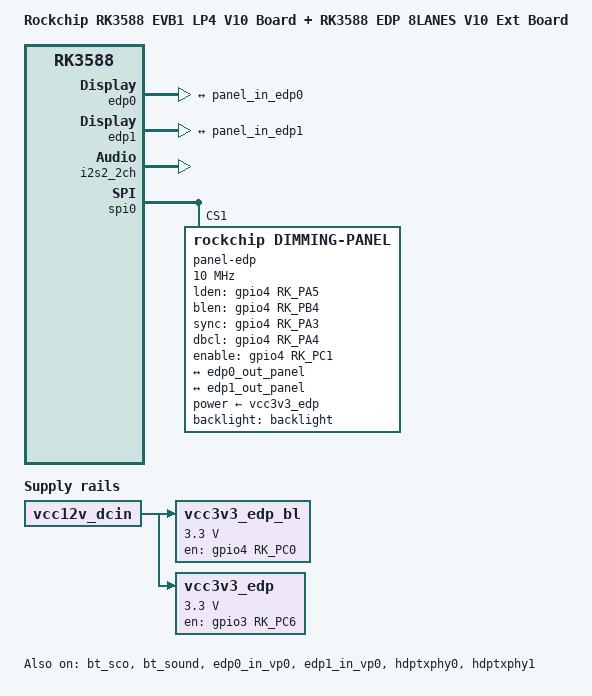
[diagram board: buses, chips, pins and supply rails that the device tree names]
// SPDX-License-Identifier: (GPL-2.0+ OR MIT)
/*
 * Copyright (c) 2024 Rockchip Electronics Co., Ltd.
 *
 */

/dts-v1/;

#include "rk3588-evb1-lp4.dtsi"
#include "rk3588-evb1-imx415.dtsi"
#include "rk3588-android.dtsi"

/ {
	model = "Rockchip RK3588 EVB1 LP4 V10 Board + RK3588 EDP 8LANES V10 Ext Board";
	compatible = "rockchip,rk3588-evb1-lp4-v10-edp-8lanes-TPM270WR1", "rockchip,rk3588";

	vcc3v3_edp_bl: vcc3v3-edp-bl {
		compatible = "regulator-fixed";
		regulator-name = "vcc3v3_edp_bl";
		regulator-boot-on;
		regulator-always-on;
		regulator-min-microvolt = <3300000>;
		regulator-max-microvolt = <3300000>;
		enable-active-high;
		gpio = <&gpio4 RK_PC0 GPIO_ACTIVE_HIGH>;
		vin-supply = <&vcc12v_dcin>;
	};

	vcc3v3_edp: vcc3v3-edp {
		compatible = "regulator-fixed";
		regulator-name = "vcc3v3_edp";
		regulator-boot-on;
		regulator-min-microvolt = <3300000>;
		regulator-max-microvolt = <3300000>;
		enable-active-high;
		gpio = <&gpio3 RK_PC6 GPIO_ACTIVE_HIGH>;
		vin-supply = <&vcc12v_dcin>;
	};
};

&bt_sco {
	status = "okay";
};

&bt_sound {
	status = "okay";
};

&dsi0 {
	status = "disabled";
};

&edp0 {
	force-hpd;
	status = "okay";
	rockchip,dual-channel;
	rockchip,data-swap;

	ports {
		port@1 {
			reg = <1>;

			edp0_out_panel: endpoint {
				remote-endpoint = <&panel_in_edp0>;
			};
		};
	};
};

&edp0_in_vp0 {
	status = "okay";
};

&edp0_in_vp1 {
	status = "disabled";
};

&edp0_in_vp2 {
	status = "disabled";
};

&edp1 {
	force-hpd;
	status = "okay";

	ports {
		port@1 {
			reg = <1>;

			edp1_out_panel: endpoint {
				remote-endpoint = <&panel_in_edp1>;
			};
		};
	};
};

&edp1_in_vp0 {
	status = "okay";
};

&edp1_in_vp1 {
	status = "disabled";
};

&edp1_in_vp2 {
	status = "disabled";
};

&hdmi0 {
	status = "disabled";
};

&hdmi0_in_vp0 {
	status = "disabled";
};

&hdmi0_sound {
	status = "disabled";
};

&hdmi1 {
	status = "disabled";
};

&hdmi1_in_vp1 {
	status = "disabled";
};

&hdmi1_sound {
	status = "disabled";
};

&hdptxphy0 {
	status = "okay";
};

&hdptxphy1 {
	status = "okay";
};

&hdptxphy_hdmi0 {
	status = "disabled";
};

&hdptxphy_hdmi1 {
	status = "disabled";
};

&i2s2_2ch {
	status = "okay";
};

&pcie2x1l0 {
	status = "disabled";
};

&pcie3x4 {
	status = "disabled";
};

&route_dsi0 {
	status = "disabled";
};

&route_edp0 {
	status = "disabled";
	connect = <&vp0_out_edp0>;
};

&route_edp1 {
	status = "disabled";
	connect = <&vp0_out_edp1>;
};

&route_hdmi0 {
	status = "disabled";
};

&route_hdmi1 {
	status = "disabled";
};

&spi0 {
	pinctrl-names = "default";
	pinctrl-0 = <&spi0m1_cs1 &spi0m1_pins>;
	rockchip,poll-only;
	status = "okay";

	panel-edp@1 {
		compatible = "rockchip,dimming-panel";
		reg = <1>;
		spi-max-frequency = <10000000>;
		lden-gpios = <&gpio4 RK_PA5 GPIO_ACTIVE_HIGH>;
		blen-gpios = <&gpio4 RK_PB4 GPIO_ACTIVE_HIGH>;
		sync-gpios = <&gpio4 RK_PA3 GPIO_ACTIVE_HIGH>;
		dbcl-gpios = <&gpio4 RK_PA4 GPIO_ACTIVE_HIGH>;
		backlight = <&backlight>;
		power-supply = <&vcc3v3_edp>;
		enable-gpios = <&gpio4 RK_PC1 GPIO_ACTIVE_HIGH>;
		prepare-delay-ms = <120>;
		enable-delay-ms = <120>;
		unprepare-delay-ms = <120>;
		disable-delay-ms = <120>;
		hzone-num = <48>;
		vzone-num = <24>;
		brightness-max = <255>;
		brightness-min = <0>;
		brightness-bpc = <8>;
		command-header = [
			aa	// indicator
			81	// command
			00	// hdr on/off
			0c	// sdr current
			20	// hdr current
			00	// reserve
		];
		command-tail = [
			00	// checknum
			00	// end
		];
		/*
		 * The demo configs for 16bpc:
		 * brightness-bpc = <16>;
		 * command-header = [
		 *	00 aa	// indicator
		 *	00 81	// command
		 *	00 00	// hdr on/off
		 *	00 0c	// sdr current
		 *	00 20	// hdr current
		 *	00 00	// reserve
		 * ];
		 * command-tail = [
		 *	00 00	// checknum
		 *	00 00	// end
		 * ];
		 */
		status = "okay";

		display-timings {
			native-mode = <&timing_4kp60_dimming>;
			timing_4kp60_dimming: timing2 {
				clock-frequency = <528000000>;
				hactive = <3840>;
				vactive = <2160>;
				hfront-porch = <60>;
				hsync-len = <40>;
				hback-porch = <60>;
				vfront-porch = <15>;
				vsync-len = <10>;
				vback-porch = <15>;
				hsync-active = <0>;
				vsync-active = <0>;
				de-active = <0>;
				pixelclk-active = <0>;
			};

			timing_4kp144_dimming: timing3 {
				clock-frequency = <1267200000>;
				hactive = <3840>;
				vactive = <2160>;
				hfront-porch = <60>;
				hsync-len = <40>;
				hback-porch = <60>;
				vfront-porch = <15>;
				vsync-len = <10>;
				vback-porch = <15>;
				hsync-active = <0>;
				vsync-active = <0>;
				de-active = <0>;
				pixelclk-active = <0>;
			};
		};

		ports {
			#address-cells = <1>;
			#size-cells = <0>;

			port@0 {
				reg = <0>;
				panel_in_edp0: endpoint {
					remote-endpoint = <&edp0_out_panel>;
				};
			};

			port@1 {
				reg = <1>;
				panel_in_edp1: endpoint {
					remote-endpoint = <&edp1_out_panel>;
				};
			};
		};
	};
};

&vop {
	assigned-clocks = <&cru ACLK_VOP>;
	assigned-clock-rates = <800000000>;
};

&vp0 {
	assigned-clocks = <&cru DCLK_VOP0_SRC>;
	assigned-clock-parents = <&cru PLL_V0PLL>;
};

&vp2 {
	/delete-property/ assigned-clocks;
	/delete-property/ assigned-clock-parents;
};
